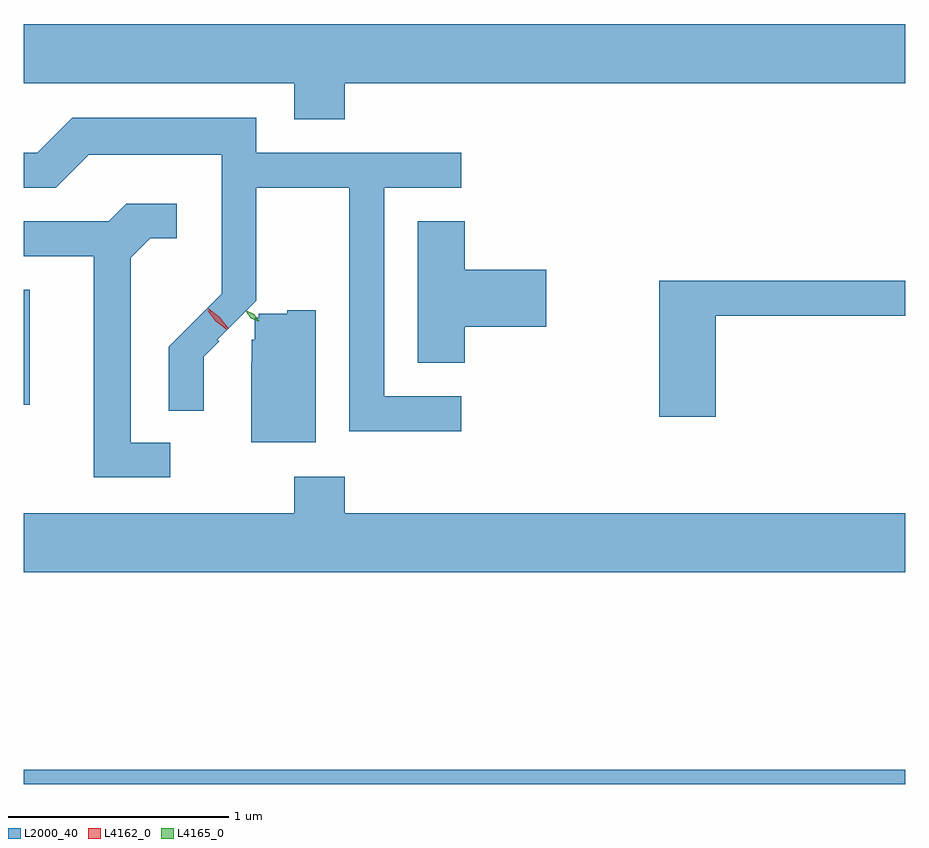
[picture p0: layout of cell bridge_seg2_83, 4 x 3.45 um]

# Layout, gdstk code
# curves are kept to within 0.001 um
import gdstk
lib = gdstk.Library(unit=1e-6, precision=1e-09)
def R(c, l, rs):  # rectangles x0, y0, x1, y1
    for r in rs: c.add(gdstk.rectangle(r[:2], r[2:], *l))
def P(c, l, *ps):  # polygons
    for p in ps: c.add(gdstk.Polygon(p, *l))
L2000_40 = (2000, 40)
L4162_0 = (4162, 0)
L4165_0 = (4165, 0)

bridge_seg2_83 = lib.new_cell('bridge_seg2_83')
R(bridge_seg2_83, L2000_40, [(1224.703,1009.615,1228.703,1009.679), (1224.703,1011.336,1224.729,1011.859)])
P(bridge_seg2_83, L2000_40, [(1226.159,1012.796),(1228.703,1012.796),(1228.703,1013.064),(1224.703,1013.064),(1224.703,1012.796),(1225.931,1012.796),(1225.931,1012.631),(1226.159,1012.631)],
  [(1226.688,1011.374),(1226.339,1011.374),(1226.339,1012.321),(1226.688,1012.321),(1226.688,1012.479),(1225.759,1012.479),(1225.759,1012.639),(1224.924,1012.639),(1224.764,1012.479),(1224.703,1012.479),(1224.703,1012.321),(1224.847,1012.321),(1224.997,1012.471),(1225.601,1012.471),(1225.601,1011.84),(1225.361,1011.6),(1225.361,1011.308),(1225.519,1011.308),(1225.519,1011.555),(1225.589,1011.624),(1225.582,1011.631),(1225.758,1011.808),(1225.759,1012.321),(1226.181,1012.321),(1226.181,1011.216),(1226.688,1011.216)],
  [(1225.368,1011.164),(1225.189,1011.164),(1225.189,1012.004),(1225.277,1012.091),(1225.398,1012.091),(1225.398,1012.249),(1225.169,1012.249),(1225.089,1012.169),(1224.703,1012.169),(1224.703,1012.011),(1225.021,1012.011),(1225.021,1011.006),(1225.368,1011.006)],
  [(1226.704,1011.691),(1227.074,1011.691),(1227.074,1011.949),(1226.704,1011.949),(1226.704,1012.169),(1226.491,1012.169),(1226.491,1011.526),(1226.704,1011.526)],
  [(1227.844,1011.741),(1228.703,1011.741),(1228.703,1011.899),(1227.586,1011.899),(1227.586,1011.281),(1227.844,1011.281)],
  [(1226.029,1011.764),(1225.898,1011.764),(1225.898,1011.748),(1225.77,1011.748),(1225.77,1011.73),(1225.75,1011.73),(1225.75,1011.63),(1225.737,1011.63),(1225.737,1011.53),(1225.736,1011.53),(1225.736,1011.166),(1226.029,1011.166)],
  [(1228.703,1010.844),(1226.159,1010.844),(1226.159,1011.009),(1225.931,1011.009),(1225.931,1010.844),(1224.703,1010.844),(1224.703,1010.576),(1228.703,1010.576)])
P(bridge_seg2_83, L4162_0, [(1225.631,1011.68),(1225.578,1011.72),(1225.538,1011.773),(1225.538,1011.774),(1225.539,1011.774),(1225.592,1011.734),(1225.632,1011.681),(1225.632,1011.68)],
  [(1225.623,1011.677),(1225.573,1011.715),(1225.535,1011.765),(1225.535,1011.766),(1225.536,1011.766),(1225.587,1011.729),(1225.624,1011.678),(1225.624,1011.677)])
P(bridge_seg2_83, L4165_0, [(1225.765,1011.715),(1225.733,1011.729),(1225.713,1011.758),(1225.713,1011.759),(1225.714,1011.759),(1225.746,1011.744),(1225.766,1011.715),(1225.766,1011.715)],
  [(1225.771,1011.716),(1225.736,1011.731),(1225.713,1011.762),(1225.713,1011.763),(1225.714,1011.763),(1225.749,1011.747),(1225.772,1011.716),(1225.772,1011.716)])

lib.write_gds('bridge_seg2_83.gds')
